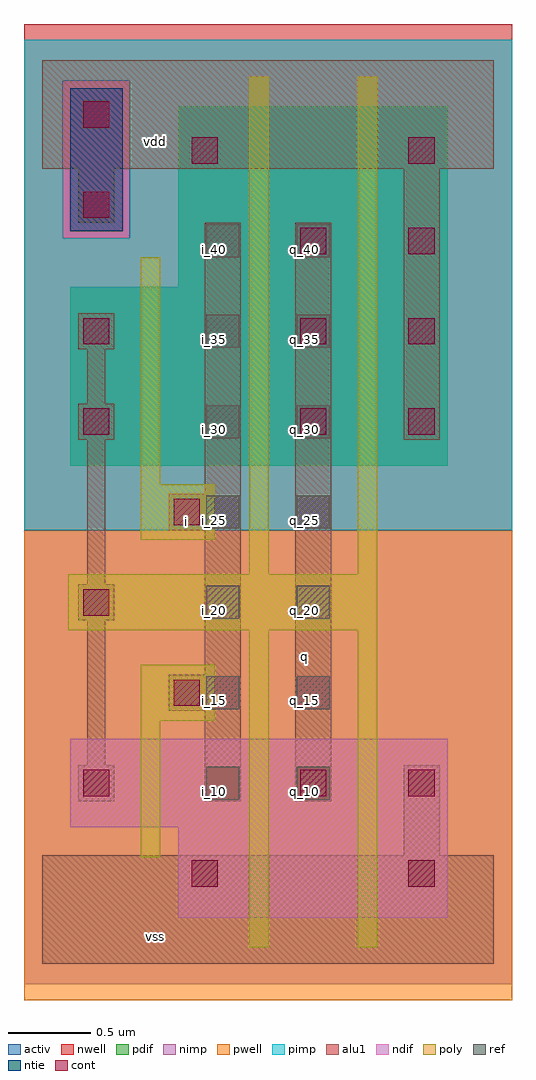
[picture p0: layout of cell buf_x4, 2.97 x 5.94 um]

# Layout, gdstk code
import gdstk
lib = gdstk.Library(unit=1e-6, precision=2.5e-09)
def R(c, l, rs):  # rectangles x0, y0, x1, y1
    for r in rs: c.add(gdstk.rectangle(r[:2], r[2:], *l))
def A(c, l, x, y, w, h, nx, ny, dx, dy):  # array of equal rectangles
    R(c, l, [(x+i*dx, y+j*dy, x+i*dx+w, y+j*dy+h) for i in range(nx) for j in range(ny)])
ndif = (3, 0)
pdif = (4, 0)
ntie = (5, 0)
ref = (24, 0)
cont = (25, 0)
pwell = (41, 0)
nwell = (42, 0)
activ = (43, 0)
pimp = (44, 0)
nimp = (45, 0)
poly = (46, 0)
alu1 = (49, 0)

buf_x4 = lib.new_cell('buf_x4')
R(buf_x4, ndif, [(0.83,0.28,2.47,0.83), (0.83,0.28,2.47,0.83), (0.17,0.83,2.47,1.37), (0.17,0.83,2.47,1.37)])
R(buf_x4, pdif, [(0.17,3.03,2.47,4.12), (0.17,3.03,2.47,4.12), (0.83,4.12,2.47,5.22), (0.83,4.12,2.47,5.22)])
R(buf_x4, ntie, [(0.17,4.46,0.49,5.33), (0.17,4.46,0.49,5.33)])
A(buf_x4, ref, 1, 1, 0.2, 0.2, 1, 7, 0, 0.55)
A(buf_x4, ref, 1.55, 1, 0.2, 0.2, 1, 7, 0, 0.55)
A(buf_x4, cont, 0.25, 1.02, 0.16, 0.16, 1, 3, 0, 1.1)
A(buf_x4, cont, 1.57, 3.22, 0.16, 0.16, 1, 3, 0, 0.55)
A(buf_x4, cont, 2.23, 3.22, 0.16, 0.16, 1, 4, 0, 0.55)
R(buf_x4, cont, [(0.91,0.47,1.07,0.63), (2.23,0.47,2.39,0.63), (1.57,1.02,1.73,1.18), (2.23,1.02,2.39,1.18), (0.8,1.57,0.96,1.73), (0.8,2.67,0.96,2.83), (0.25,3.77,0.41,3.93), (0.25,4.54,0.41,4.7), (0.91,4.87,1.07,5.03), (0.25,5.09,0.41,5.25)])
R(buf_x4, pwell, [(-0.11,-0.22,2.86,2.64)])
R(buf_x4, nwell, [(-0.11,2.64,2.86,5.72)])
R(buf_x4, activ, [(0.83,0.28,2.47,0.83), (0.83,0.28,2.47,0.83), (0.17,0.83,2.47,1.37), (0.17,0.83,2.47,1.37), (0.17,3.03,2.47,4.12), (0.17,3.03,2.47,4.12), (0.83,4.12,2.47,5.22), (0.83,4.12,2.47,5.22), (0.17,4.46,0.49,5.33), (0.17,4.46,0.49,5.33)])
R(buf_x4, pimp, [(-0.11,2.64,2.86,4.415), (-0.11,4.415,0.125,5.375), (0.535,4.415,2.86,5.375), (-0.11,5.375,2.86,5.625)])
R(buf_x4, nimp, [(-0.11,-0.125,2.86,2.64), (0.125,4.415,0.535,5.375)])
R(buf_x4, poly, [(1.26,0.1,1.38,2.03), (1.92,0.1,2.04,2.03), (0.6,0.65,0.72,1.48), (0.6,1.48,1.05,1.82), (0.16,2.03,2.04,2.37), (1.26,2.37,1.38,5.4), (1.92,2.37,2.04,5.4), (0.6,2.58,1.05,2.92), (0.6,2.92,0.72,4.3)])
A(buf_x4, alu1, 0.22, 0.99, 0.22, 0.22, 1, 3, 0, 1.1)
R(buf_x4, alu1, [(0,0,2.75,0.66), (2.2,0.66,2.42,1.21), (0.99,0.99,1.21,1.54), (1.54,0.99,1.76,4.51), (0.275,1.21,0.385,2.09), (0.77,1.54,1.21,1.76), (0.99,1.76,1.21,2.64), (0.275,2.31,0.385,3.19), (0.77,2.64,1.21,2.86), (0.99,2.86,1.21,4.51), (2.2,3.19,2.42,4.84), (0.275,3.41,0.385,3.74), (0.22,3.74,0.44,3.96), (0.22,4.51,0.44,4.84), (0,4.84,2.75,5.5)])
buf_x4.add(gdstk.Label('vss', (0.6875,0.165), layer=49, texttype=0))
buf_x4.add(gdstk.Label('q', (1.595,1.87), layer=49, texttype=0))
buf_x4.add(gdstk.Label('i', (0.88,2.695), layer=49, texttype=0))
buf_x4.add(gdstk.Label('vdd', (0.6875,5.005), layer=49, texttype=0))
buf_x4.add(gdstk.Label('i_10', (1.05,1.05), layer=24, texttype=0))
buf_x4.add(gdstk.Label('i_15', (1.05,1.6), layer=24, texttype=0))
buf_x4.add(gdstk.Label('q_10', (1.6,1.05), layer=24, texttype=0))
buf_x4.add(gdstk.Label('q_25', (1.6,2.7), layer=24, texttype=0))
buf_x4.add(gdstk.Label('q_15', (1.6,1.6), layer=24, texttype=0))
buf_x4.add(gdstk.Label('q_40', (1.6,4.35), layer=24, texttype=0))
buf_x4.add(gdstk.Label('q_35', (1.6,3.8), layer=24, texttype=0))
buf_x4.add(gdstk.Label('q_30', (1.6,3.25), layer=24, texttype=0))
buf_x4.add(gdstk.Label('q_20', (1.6,2.15), layer=24, texttype=0))
buf_x4.add(gdstk.Label('i_40', (1.05,4.35), layer=24, texttype=0))
buf_x4.add(gdstk.Label('i_35', (1.05,3.8), layer=24, texttype=0))
buf_x4.add(gdstk.Label('i_30', (1.05,3.25), layer=24, texttype=0))
buf_x4.add(gdstk.Label('i_25', (1.05,2.7), layer=24, texttype=0))
buf_x4.add(gdstk.Label('i_20', (1.05,2.15), layer=24, texttype=0))

lib.write_gds('buf_x4.gds')
